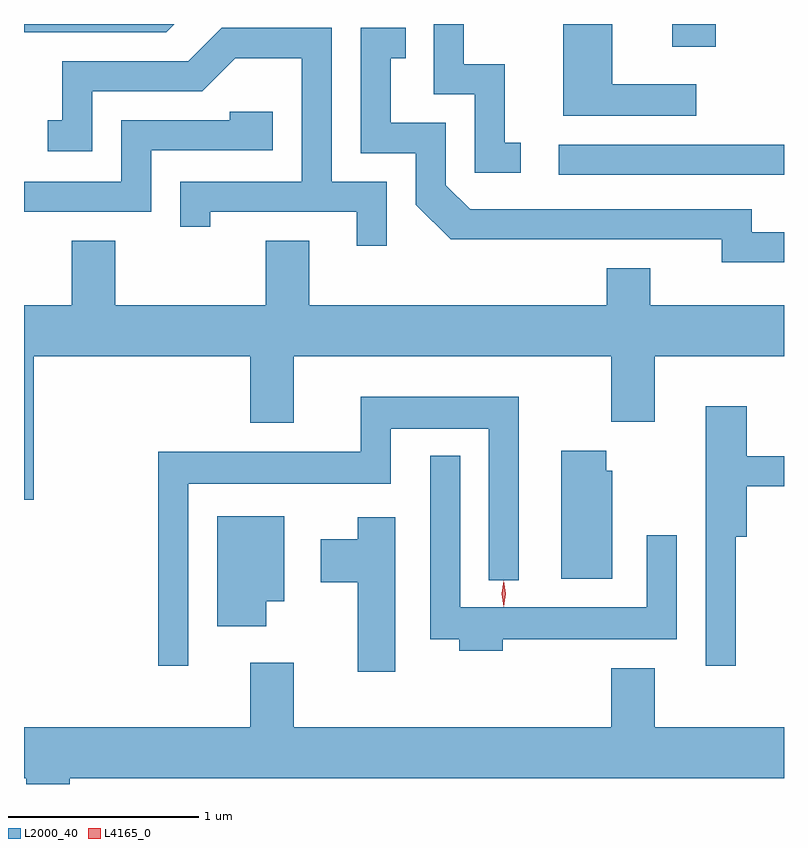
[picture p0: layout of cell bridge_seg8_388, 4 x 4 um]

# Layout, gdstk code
import gdstk
lib = gdstk.Library(unit=1e-6, precision=1e-09)
def R(c, l, rs):  # rectangles x0, y0, x1, y1
    for r in rs: c.add(gdstk.rectangle(r[:2], r[2:], *l))
def P(c, l, *ps):  # polygons
    for p in ps: c.add(gdstk.Polygon(p, *l))
L2000_40 = (2000, 40)
L4165_0 = (4165, 0)

bridge_seg8_388 = lib.new_cell('bridge_seg8_388')
R(bridge_seg8_388, L2000_40, [(742.123,1928.391,743.309,1928.549), (742.721,1929.066,742.949,1929.185)])
P(bridge_seg8_388, L2000_40, [(741.923,1928.559),(741.839,1928.559),(741.839,1928.974),(741.624,1928.974),(741.624,1929.185),(741.466,1929.185),(741.466,1928.816),(741.681,1928.816),(741.681,1928.401),(741.923,1928.401)],
  [(740.101,1929.185),(739.309,1929.185),(739.309,1929.141),(740.057,1929.141)],
  [(742.848,1928.869),(742.404,1928.869),(742.404,1929.185),(742.146,1929.185),(742.146,1928.701),(742.848,1928.701)],
  [(741.219,1928.354),(740.929,1928.354),(740.929,1929.164),(740.349,1929.164),(740.174,1928.989),(739.511,1928.989),(739.511,1928.679),(739.433,1928.679),(739.433,1928.516),(739.669,1928.516),(739.669,1928.831),(740.247,1928.831),(740.422,1929.006),(740.771,1929.006),(740.771,1928.354),(740.131,1928.354),(740.131,1928.118),(740.289,1928.118),(740.289,1928.196),(741.061,1928.196),(741.061,1928.018),(741.219,1928.018)],
  [(743.309,1928.089),(743.139,1928.089),(743.139,1928.209),(741.657,1928.209),(741.529,1928.337),(741.529,1928.664),(741.239,1928.664),(741.239,1929.006),(741.318,1929.006),(741.318,1929.164),(741.081,1929.164),(741.081,1928.506),(741.371,1928.506),(741.371,1928.234),(741.554,1928.051),(742.981,1928.051),(742.981,1927.931),(743.309,1927.931)],
  [(739.979,1928.521),(740.619,1928.521),(740.619,1928.724),(740.391,1928.724),(740.391,1928.679),(739.821,1928.679),(739.821,1928.354),(739.309,1928.354),(739.309,1928.196),(739.979,1928.196)],
  [(739.359,1927.436),(740.501,1927.436),(740.501,1927.086),(740.729,1927.086),(740.729,1927.436),(742.401,1927.436),(742.401,1927.091),(742.629,1927.091),(742.629,1927.436),(743.309,1927.436),(743.309,1927.704),(742.604,1927.704),(742.604,1927.899),(742.376,1927.899),(742.376,1927.704),(740.809,1927.704),(740.809,1928.044),(740.581,1928.044),(740.581,1927.704),(739.789,1927.704),(739.789,1928.044),(739.561,1928.044),(739.561,1927.704),(739.309,1927.704),(739.309,1926.681),(739.359,1926.681)],
  [(740.174,1926.766),(741.239,1926.766),(741.239,1927.056),(741.756,1927.056),(741.756,1926.258),(741.914,1926.258),(741.914,1927.224),(741.081,1927.224),(741.081,1926.934),(740.016,1926.934),(740.016,1925.808),(740.174,1925.808)],
  [(743.054,1926.486),(743.114,1926.486),(743.114,1926.751),(743.309,1926.751),(743.309,1926.909),(743.114,1926.909),(743.114,1927.174),(742.896,1927.174),(742.896,1925.808),(743.054,1925.808)],
  [(742.404,1926.834),(742.374,1926.834),(742.374,1926.939),(742.136,1926.939),(742.136,1926.266),(742.404,1926.266)],
  [(741.829,1925.946),(742.744,1925.946),(742.744,1926.493),(742.586,1926.493),(742.586,1926.114),(741.604,1926.114),(741.604,1926.913),(741.446,1926.913),(741.446,1925.946),(741.601,1925.946),(741.601,1925.886),(741.829,1925.886)],
  [(740.584,1926.146),(740.679,1926.146),(740.679,1926.594),(740.326,1926.594),(740.326,1926.016),(740.584,1926.016)],
  [(741.264,1926.589),(741.066,1926.589),(741.066,1926.474),(740.871,1926.474),(740.871,1926.246),(741.066,1926.246),(741.066,1925.776),(741.264,1925.776)],
  [(739.549,1925.216),(743.309,1925.216),(743.309,1925.484),(742.629,1925.484),(742.629,1925.794),(742.401,1925.794),(742.401,1925.484),(740.729,1925.484),(740.729,1925.824),(740.501,1925.824),(740.501,1925.484),(739.309,1925.484),(739.309,1925.216),(739.321,1925.216),(739.321,1925.185),(739.549,1925.185)])
P(bridge_seg8_388, L4165_0, [(741.833,1926.117),(741.823,1926.187),(741.833,1926.256),(741.834,1926.256),(741.834,1926.256),(741.844,1926.187),(741.834,1926.117),(741.834,1926.117)])

lib.write_gds('bridge_seg8_388.gds')
